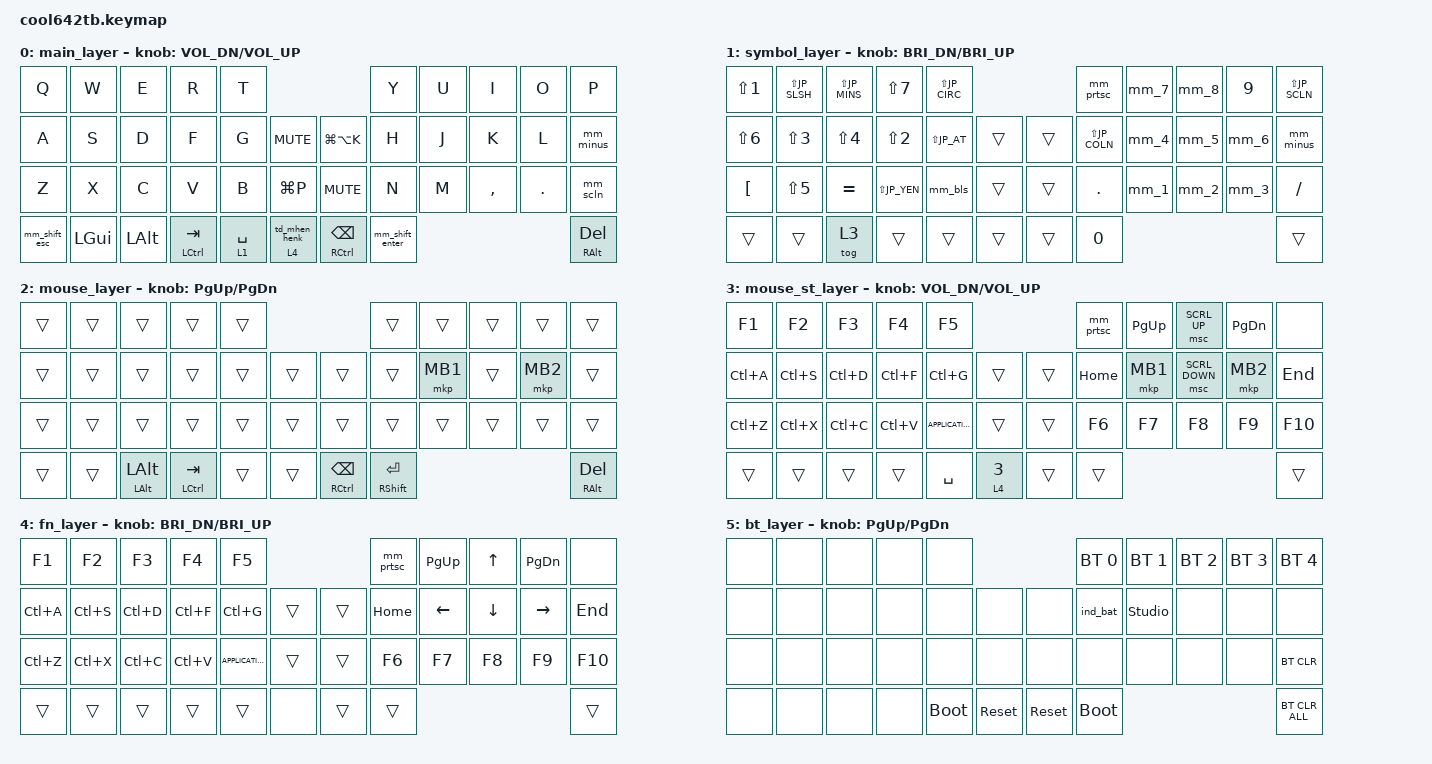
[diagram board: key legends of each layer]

#define ZMK_MOUSE_DEFAULT_SCRL_VAL 40

#include <input/processors.dtsi>
#include <behaviors/rgbled_widget.dtsi>
#include <behaviors.dtsi>
#include <dt-bindings/zmk/bt.h>
#include <dt-bindings/zmk/keys.h>
#include <dt-bindings/zmk/pointing.h>

#define JP_ZKHK GRAVE
#define JP_MINS MINUS
#define JP_CIRC EQUAL
#define JP_YEN  INT3
#define JP_AT   LEFT_BRACKET
#define JP_LBRC RIGHT_BRACKET
#define JP_EISU CAPSLOCK
#define JP_SCLN SEMICOLON
#define JP_COLN SINGLE_QUOTE
#define JP_RBRC NON_US_HASH
#define JP_COMM COMMA
#define JP_DOT  DOT
#define JP_SLSH SLASH
#define JP_BSLS INT1
#define JP_MHEN INT5
#define JP_HENK INT4
#define JP_KANA INT2

#define JP_EXLM LS(N1)
#define JP_DQUO LS(N2)
#define JP_HASH LS(N3)
#define JP_DLR  LS(N4)
#define JP_PERC LS(N5)
#define JP_AMPR LS(N6)
#define JP_QUOT LS(N7)
#define JP_LPRN LS(N8)
#define JP_RPRN LS(N9)
#define JP_EQL  LS(JP_MINS)
#define JP_TILD LS(JP_CIRC)
#define JP_PIPE LS(JP_YEN)
#define JP_GRV  LS(JP_AT)
#define JP_LCBR LS(JP_LBRC)
#define JP_PLUS LS(JP_SCLN)
#define JP_ASTR LS(JP_COLN)
#define JP_RCBR LS(JP_RBRC)
#define JP_LABK LS(JP_COMM)
#define JP_RABK LS(JP_DOT)
#define JP_QUES LS(JP_SLSH)
#define JP_UNDS LS(JP_BSLS)

#define MAIN 0
#define SYMBOL 1
#define MOUSE 2
#define MOUSE_ST 3
#define FN 4
#define BT 5

&mt {
    flavor = "balanced";
    tapping-term-ms = <180>;
    quick-tap-ms = <150>;
    require-prior-idle-ms = <100>;
};

&zip_temp_layer {
    require-prior-idle-ms = <120>;
    excluded-positions = <18 20 36 37 40 41 42>;
};

&mkp_input_listener {
    aml_active {
        layers = <2>;
        input-processors = <&zip_temp_layer 2 5000>;
    };

    aml_inactive {
        layers = <0 1 3 4>;
    };
};

&caps_word { continue-list = <JP_UNDS JP_MINS JP_COLN BACKSPACE DELETE>; };

/ {
    vbatt {
        compatible = "zmk,battery-voltage-divider";
        io-channels = <&adc 7>;

        /*
         * 2.80V 100%
         * 2.53V 60%
         * 2.41V 40%
         * 2.40V 20%
         * 2.13V 0%
         */

        output-ohms = <510000>;
        full-ohms = <2265000>;
    };

    zip_keybind_keys: zip_keybind_keys {
        compatible = "zmk,input-processor-keybind";
        #input-processor-cells = <0>;
        track_remainders;
        bindings = <&kp RIGHT>,
                  <&kp LEFT>,
                  <&kp DOWN>,
                  <&kp UP>;
        tick = <20>;
        wait-ms = <0>;
        tap-ms = <10>;
    };

    combos {
        compatible = "zmk,combos";

        CM_BTLY {
            bindings = <&mo 5>;
            key-positions = <16 28>;
            timeout-ms = <50>;
            require-prior-idle-ms = <50>;
            layers = <0>;
        };

        CM_MB3 {
            bindings = <&mkp MB3>;
            key-positions = <18 20>;
            layers = <2 3>;
            timeout-ms = <40>;
            require-prior-idle-ms = <50>;
        };

        CM_GRAV {
            bindings = <&kp JP_ZKHK>;
            key-positions = <0 1>;
            timeout-ms = <40>;
            require-prior-idle-ms = <50>;
            layers = <4>;
        };

        CM_CAPS {
            bindings = <&kp CAPSLOCK>;
            key-positions = <1 2>;
            timeout-ms = <40>;
            require-prior-idle-ms = <50>;
            layers = <4>;
        };

        CM_INSE {
            bindings = <&kp INSERT>;
            key-positions = <2 3>;
            timeout-ms = <40>;
            require-prior-idle-ms = <50>;
            layers = <4>;
        };

        CM_NUML {
            bindings = <&kp KP_NUMLOCK>;
            key-positions = <3 4>;
            timeout-ms = <40>;
            require-prior-idle-ms = <50>;
            layers = <4>;
        };

        CM_PUBR {
            bindings = <&kp PAUSE_BREAK>;
            key-positions = <0 1 2>;
            timeout-ms = <40>;
            require-prior-idle-ms = <50>;
            layers = <4>;
        };

        CM_SLCK {
            bindings = <&kp SCROLLLOCK>;
            key-positions = <1 2 3>;
            timeout-ms = <40>;
            require-prior-idle-ms = <50>;
            layers = <4>;
        };

        CM_KANA {
            bindings = <&kp JP_KANA>;
            key-positions = <2 3 4>;
            timeout-ms = <40>;
            require-prior-idle-ms = <50>;
            layers = <4>;
        };

        CM_F11 {
            bindings = <&kp F11>;
            key-positions = <31 32>;
            layers = <3 4>;
            timeout-ms = <40>;
            require-prior-idle-ms = <50>;
        };

        CM_F12 {
            bindings = <&kp F12>;
            key-positions = <32 33>;
            layers = <3 4>;
            timeout-ms = <40>;
            require-prior-idle-ms = <50>;
        };
    };

    behaviors {
        mm_7: mm_7 {
            compatible = "zmk,behavior-mod-morph";
            label = "MM_7";
            bindings = <&kp N7>, <&kp JP_LPRN>;

            #binding-cells = <0>;
            mods = <(MOD_LSFT|MOD_RSFT)>;
        };

        mm_8: mm_8 {
            compatible = "zmk,behavior-mod-morph";
            label = "MM_8";
            bindings = <&kp N8>, <&m_paren>;

            #binding-cells = <0>;
            mods = <(MOD_LSFT|MOD_RSFT)>;
        };

        mm_4: mm_4 {
            compatible = "zmk,behavior-mod-morph";
            label = "MM_4";
            bindings = <&kp N4>, <&kp JP_LBRC>;

            #binding-cells = <0>;
            mods = <(MOD_LSFT|MOD_RSFT)>;
        };

        mm_5: mm_5 {
            compatible = "zmk,behavior-mod-morph";
            label = "MM_5";
            bindings = <&kp N5>, <&m_bracket>;

            #binding-cells = <0>;
            mods = <(MOD_LSFT|MOD_RSFT)>;
        };

        mm_6: mm_6 {
            compatible = "zmk,behavior-mod-morph";
            label = "MM_6";
            bindings = <&kp N6>, <&kp JP_RBRC>;

            #binding-cells = <0>;
            mods = <(MOD_LSFT|MOD_RSFT)>;
        };

        mm_1: mm_1 {
            compatible = "zmk,behavior-mod-morph";
            label = "MM_1";
            bindings = <&kp N1>, <&kp JP_LCBR>;

            #binding-cells = <0>;
            mods = <(MOD_LSFT|MOD_RSFT)>;
        };

        mm_2: mm_2 {
            compatible = "zmk,behavior-mod-morph";
            label = "MM_2";
            bindings = <&kp N2>, <&m_brace>;

            #binding-cells = <0>;
            mods = <(MOD_LSFT|MOD_RSFT)>;
        };

        mm_3: mm_3 {
            compatible = "zmk,behavior-mod-morph";
            label = "MM_3";
            bindings = <&kp N3>, <&kp JP_RCBR>;

            #binding-cells = <0>;
            mods = <(MOD_LSFT|MOD_RSFT)>;
        };

        mm_scln: mm_scln {
            compatible = "zmk,behavior-mod-morph";
            label = "MM_SCLN";
            bindings = <&kp JP_SCLN>, <&kp JP_COLN>;

            #binding-cells = <0>;
            mods = <(MOD_LSFT|MOD_RSFT)>;
        };

        mm_minus: mm_minus {
            compatible = "zmk,behavior-mod-morph";
            label = "MM_MINUS";
            bindings = <&kp JP_MINS>, <&kp JP_UNDS>;

            #binding-cells = <0>;
            mods = <(MOD_LSFT|MOD_RSFT)>;
        };

        mm_bls: mm_bls {
            compatible = "zmk,behavior-mod-morph";
            label = "MM_BLS";
            bindings = <&kp JP_BSLS>, <&kp JP_YEN>;

            #binding-cells = <0>;
            mods = <(MOD_LSFT|MOD_RSFT)>;
        };

        mm_prtsc: mm_prtsc {
            compatible = "zmk,behavior-mod-morph";
            label = "MM_PRTSC";
            bindings = <&kp PRINTSCREEN>, <&kp LS(LG(S))>;

            #binding-cells = <0>;
            mods = <(MOD_LSFT|MOD_RSFT)>;
        };

        mt_cw: mt_cw {
            compatible = "zmk,behavior-hold-tap";
            label = "MT_CW";
            #binding-cells = <2>;
            bindings = <&caps_word>, <&kp>;
            flavor = "balanced";
            tapping-term-ms = <180>;
            quick-tap-ms = <150>;
        };

        mm_shift_esc: mm_shift_esc {
            compatible = "zmk,behavior-mod-morph";
            label = "MM_SHIFT_ESC";
            #binding-cells = <0>;
            bindings = <&mt LEFT_SHIFT ESCAPE>, <&mt_cw 0 ESCAPE>;
            mods = <MOD_RSFT>;
            keep-mods = <MOD_RSFT>;
        };

        mm_shift_enter: mm_shift_enter {
            compatible = "zmk,behavior-mod-morph";
            label = "MM_SHIFT_ENTER";
            #binding-cells = <0>;
            bindings = <&mt RIGHT_SHIFT ENTER>, <&mt_cw 0 ENTER>;
            mods = <MOD_LSFT>;
            keep-mods = <MOD_LSFT>;
        };

        td_mhen_henk: td_mhen_henk {
            compatible = "zmk,behavior-tap-dance";
            label = "TD_MHEN_HENK";
            #binding-cells = <0>;
            tapping-term-ms = <200>;
            bindings = <&kp JP_MHEN>, <&kp JP_HENK>;
        };

        td_l1bt: td_l1bt {
            compatible = "zmk,behavior-hold-tap";
            label = "TD_L1BT";
            #binding-cells = <2>;
            flavor = "hold-preferred";
            tapping-term-ms = <200>;
            quick-tap-ms = <180>;
            bindings = <&mo>, <&td_mhen_henk>;
        };

        td_l1bt_LM: td_l1bt_LM {
            compatible = "zmk,behavior-hold-tap";
            label = "td_l1bt_LM";
            #binding-cells = <2>;
            bindings = <&mo>, <&tog_off>;

            flavor = "hold-preferred";
            tapping-term-ms = <180>;
        };

        tog_off: tog_off {
            compatible = "zmk,behavior-toggle-layer";
            label = "TOG_OFF";
            #binding-cells = <1>;
            toggle-mode = "off";
        };

        mt_exit_AML_on_tap: mt_exit_AML_on_tap {
            compatible = "zmk,behavior-hold-tap";
            label = "MT_EXIT_AML_ON_TAP";
            #binding-cells = <2>;
            bindings = <&kp>, <&kp_exit_AML>;

            tapping-term-ms = <200>;
            flavor = "hold-preferred";
            quick-tap-ms = <0>;
        };
    };

    macros {
        m_paren: m_paren {
            compatible = "zmk,behavior-macro";
            #binding-cells = <0>;
            label = "M_PAREN";
            wait-ms = <5>;
            tap-ms = <5>;
            bindings = <&macro_tap &kp JP_LPRN &kp JP_RPRN &kp LEFT_ARROW>;
        };

        m_bracket: m_bracket {
            compatible = "zmk,behavior-macro";
            #binding-cells = <0>;
            label = "M_BRACKET";
            wait-ms = <5>;
            tap-ms = <5>;
            bindings = <&macro_tap &kp JP_LBRC &kp JP_RBRC &kp LEFT_ARROW>;
        };

        m_brace: m_brace {
            compatible = "zmk,behavior-macro";
            #binding-cells = <0>;
            label = "M_BRACE";
            wait-ms = <5>;
            tap-ms = <5>;
            bindings = <&macro_tap &kp JP_LCBR &kp JP_RCBR &kp LEFT_ARROW>;
        };

        kp_exit_AML: kp_exit_AML {
            compatible = "zmk,behavior-macro-one-param";
            #binding-cells = <1>;
            bindings = <&macro_param_1to1 &kp MACRO_PLACEHOLDER &tog_off 2>;
            label = "KP_EXIT_AML";
            tap-ms = <5>;
        };
    };

    keymap {
        compatible = "zmk,keymap";

        main_layer {
            bindings = <
&kp Q          &kp W         &kp E         &kp R                 &kp T                                                 &kp Y            &kp U  &kp I      &kp O       &kp P
&kp A          &kp S         &kp D         &kp F                 &kp G        &kp C_MUTE     &kp LG(LA(K))                &kp H            &kp J  &kp K      &kp L       &mm_minus
&kp Z          &kp X         &kp C         &kp V                 &kp B        &kp LG(P)      &kp C_MUTE                   &kp N            &kp M  &kp COMMA  &kp PERIOD  &mm_scln
&mm_shift_esc  &kp LEFT_GUI  &kp LEFT_ALT  &mt LEFT_CONTROL TAB  &lt 1 SPACE  &td_l1bt 4 0   &mt RIGHT_CONTROL BACKSPACE  &mm_shift_enter                                &mt RIGHT_ALT DELETE
            >;

            sensor-bindings = <&inc_dec_kp C_VOL_DN C_VOL_UP>;
        };

        symbol_layer {
            bindings = <
&kp JP_EXLM  &kp JP_QUES  &kp JP_EQL   &kp JP_QUOT  &kp JP_TILD                      &mm_prtsc    &mm_7  &mm_8  &kp N9  &kp JP_PLUS
&kp JP_AMPR  &kp JP_HASH  &kp JP_DLR   &kp JP_DQUO  &kp JP_GRV   &trans  &trans      &kp JP_ASTR  &mm_4  &mm_5  &mm_6   &mm_minus
&kp JP_AT    &kp JP_PERC  &kp JP_CIRC  &kp JP_PIPE  &mm_bls      &trans  &trans      &kp PERIOD   &mm_1  &mm_2  &mm_3   &kp JP_SLSH
&trans       &trans       &tog 3       &trans       &trans       &trans  &trans      &kp N0                             &trans
            >;

            sensor-bindings = <&inc_dec_kp C_BRI_DN C_BRI_UP>;
        };

        mouse_layer {
            bindings = <
&trans  &trans  &trans                                 &trans                                &trans                                                       &trans                                 &trans    &trans  &trans    &trans
&trans  &trans  &trans                                 &trans                                &trans  &trans  &trans                                       &trans                                 &mkp MB1  &trans  &mkp MB2  &trans
&trans  &trans  &trans                                 &trans                                &trans  &trans  &trans                                       &trans                                 &trans    &trans  &trans    &trans
&trans  &trans  &mt_exit_AML_on_tap LEFT_ALT LEFT_ALT  &mt_exit_AML_on_tap LEFT_CONTROL TAB  &trans  &trans  &mt_exit_AML_on_tap RIGHT_CONTROL BACKSPACE  &mt_exit_AML_on_tap RIGHT_SHIFT ENTER                              &mt_exit_AML_on_tap RIGHT_ALT DELETE
            >;

            sensor-bindings = <&inc_dec_kp PG_UP PAGE_DOWN>;
        };

        mouse_st_layer {
            bindings = <
&kp F1      &kp F2             &kp F3     &kp F4     &kp F5                                    &mm_prtsc  &kp PAGE_UP  &msc SCRL_UP    &kp PAGE_DOWN  &none
&kp LC(A)   &kp LC(S)          &kp LC(D)  &kp LC(F)  &kp LC(G)         &trans          &trans  &kp HOME   &mkp MB1     &msc SCRL_DOWN  &mkp MB2       &kp END
&kp LC(Z)   &kp LC(X)          &kp LC(C)  &kp LC(V)  &kp K_APPLICATION &trans          &trans  &kp F6     &kp F7       &kp F8          &kp F9         &kp F10
&trans      &trans             &trans     &trans     &kp SPACE         &td_l1bt_LM 4 3 &trans  &trans                                                 &trans
            >;

            sensor-bindings = <&inc_dec_kp C_VOL_DN C_VOL_UP>;
        };

        fn_layer {
            bindings = <
&kp F1      &kp F2             &kp F3     &kp F4     &kp F5                            &mm_prtsc  &kp PAGE_UP     &kp UP_ARROW    &kp PAGE_DOWN    &none
&kp LC(A)   &kp LC(S)          &kp LC(D)  &kp LC(F)  &kp LC(G)         &trans  &trans  &kp HOME   &kp LEFT_ARROW  &kp DOWN_ARROW  &kp RIGHT_ARROW  &kp END
&kp LC(Z)   &kp LC(X)          &kp LC(C)  &kp LC(V)  &kp K_APPLICATION &trans  &trans  &kp F6     &kp F7          &kp F8          &kp F9           &kp F10
&trans      &trans             &trans     &trans     &trans            &none   &trans  &trans                                                      &trans
            >;

            sensor-bindings = <&inc_dec_kp C_BRI_DN C_BRI_UP>;
        };

        bt_layer {
            bindings = <
&none  &none  &none  &none  &none                                &bt BT_SEL 0  &bt BT_SEL 1   &bt BT_SEL 2  &bt BT_SEL 3  &bt BT_SEL 4
&none  &none  &none  &none  &none        &none       &none       &ind_bat      &studio_unlock &none         &none         &none
&none  &none  &none  &none  &none        &none       &none       &none         &none          &none         &none         &bt BT_CLR
&none  &none  &none  &none  &bootloader  &sys_reset  &sys_reset  &bootloader                                              &bt BT_CLR_ALL
            >;

            sensor-bindings = <&inc_dec_kp PG_UP PAGE_DOWN>;
        };
    };
};
